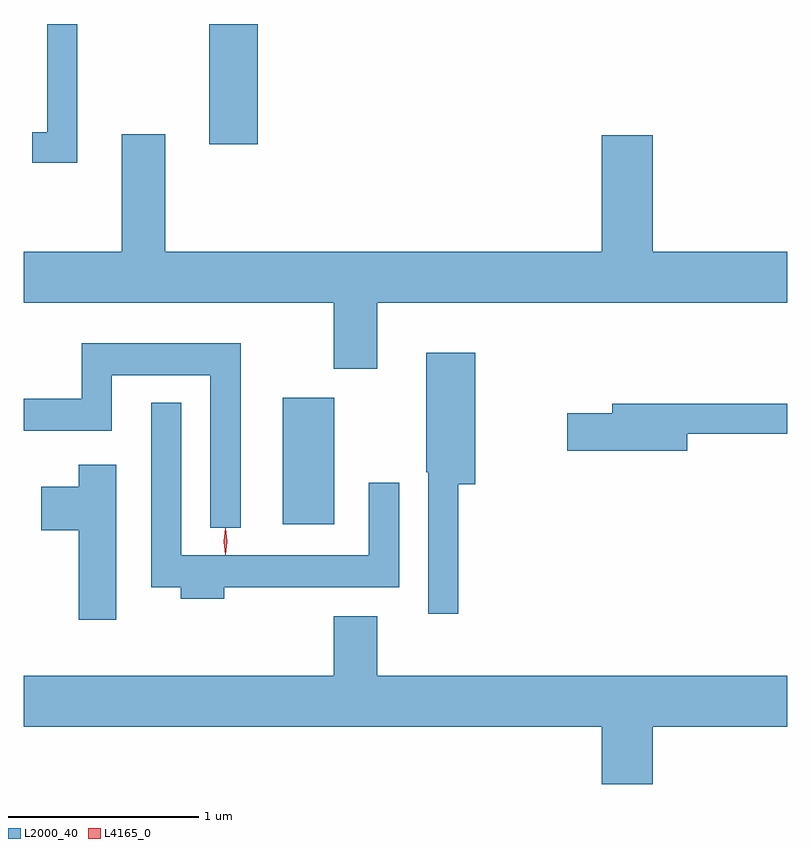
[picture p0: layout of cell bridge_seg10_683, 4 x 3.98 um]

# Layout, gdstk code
import gdstk
lib = gdstk.Library(unit=1e-6, precision=1e-09)
def R(c, l, rs):  # rectangles x0, y0, x1, y1
    for r in rs: c.add(gdstk.rectangle(r[:2], r[2:], *l))
def P(c, l, *ps):  # polygons
    for p in ps: c.add(gdstk.Polygon(p, *l))
L2000_40 = (2000, 40)
L4165_0 = (4165, 0)

bridge_seg10_683 = lib.new_cell('bridge_seg10_683')
R(bridge_seg10_683, L2000_40, [(1032.586,2094.996,1032.854,2095.659), (1032.201,2096.986,1032.454,2097.617)])
P(bridge_seg10_683, L2000_40, [(1031.509,2097.617),(1031.351,2097.617),(1031.351,2097.049),(1031.273,2097.049),(1031.273,2096.891),(1031.509,2096.891)],
  [(1034.256,2097.034),(1034.256,2096.424),(1031.969,2096.424),(1031.969,2097.039),(1031.741,2097.039),(1031.741,2096.424),(1031.228,2096.424),(1031.228,2096.156),(1032.851,2096.156),(1032.851,2095.811),(1033.079,2095.811),(1033.079,2096.156),(1035.228,2096.156),(1035.228,2096.424),(1034.524,2096.424),(1034.524,2097.034)],
  [(1032.364,2095.944),(1031.531,2095.944),(1031.531,2095.654),(1031.228,2095.654),(1031.228,2095.486),(1031.689,2095.486),(1031.689,2095.776),(1032.206,2095.776),(1032.206,2094.978),(1032.364,2094.978)],
  [(1033.504,2095.206),(1033.594,2095.206),(1033.594,2095.894),(1033.336,2095.894),(1033.336,2095.27),(1033.346,2095.27),(1033.346,2094.528),(1033.504,2094.528)],
  [(1032.279,2094.666),(1033.194,2094.666),(1033.194,2095.213),(1033.036,2095.213),(1033.036,2094.834),(1032.054,2094.834),(1032.054,2095.633),(1031.896,2095.633),(1031.896,2094.666),(1032.051,2094.666),(1032.051,2094.606),(1032.279,2094.606)],
  [(1034.704,2095.471),(1035.228,2095.471),(1035.228,2095.629),(1034.311,2095.629),(1034.311,2095.579),(1034.076,2095.579),(1034.076,2095.381),(1034.704,2095.381)],
  [(1031.714,2095.309),(1031.516,2095.309),(1031.516,2095.194),(1031.321,2095.194),(1031.321,2094.966),(1031.516,2094.966),(1031.516,2094.496),(1031.714,2094.496)],
  [(1034.524,2093.936),(1035.228,2093.936),(1035.228,2094.204),(1033.079,2094.204),(1033.079,2094.514),(1032.851,2094.514),(1032.851,2094.204),(1031.228,2094.204),(1031.228,2093.936),(1034.256,2093.936),(1034.256,2093.636),(1034.524,2093.636)])
P(bridge_seg10_683, L4165_0, [(1032.285,2094.837),(1032.285,2094.837),(1032.275,2094.907),(1032.285,2094.976),(1032.285,2094.976),(1032.286,2094.976),(1032.295,2094.907),(1032.286,2094.837)],
  [(1032.285,2094.839),(1032.285,2094.84),(1032.275,2094.906),(1032.285,2094.972),(1032.285,2094.973),(1032.286,2094.972),(1032.295,2094.906),(1032.286,2094.84)])

lib.write_gds('bridge_seg10_683.gds')
